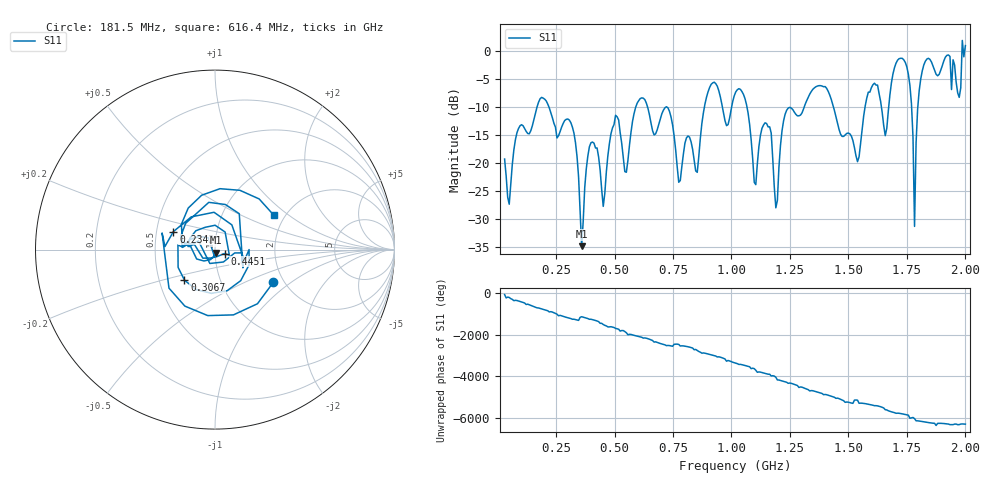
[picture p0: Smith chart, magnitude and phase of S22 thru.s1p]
# Hz S DB R 50.000000
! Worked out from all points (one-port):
!   300 points, 30 MHz to 2 GHz, reference 50 ohm
!   lowest |S11| = -34.9 dB at 359.4 MHz (marker M1), VSWR 1.04, Z = 50.7 - j1.67 ohm
!   |S11| at or under -10 dB: 219.1 MHz to 591.1 MHz (371.9 MHz wide, 91.8 % of centre); 722 MHz to 884.5 MHz (162.5 MHz wide, 20.2 % of centre); 1.066 GHz to 1.311 GHz (245.2 MHz wide, 20.6 % of centre)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
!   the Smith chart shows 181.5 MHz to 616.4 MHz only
!   S11 on the Smith chart (normalised r, x): 181.5 MHz: 1.76, -0.75; 234.2 MHz: 0.61, +0.13; 306.7 MHz: 0.67, -0.24; 445.1 MHz: 1.11, -0.05; 616.4 MHz: 1.76, +0.78
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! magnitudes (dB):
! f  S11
! 30 MHz  -19.3
! 49.77 MHz  -27.4
! 181.5 MHz  -8.6
! 234.2 MHz  -11.9
! 280.4 MHz  -13.0
! 306.7 MHz  -12.4
! 359.4 MHz  -34.9
! 392.4 MHz  -17.1
! 445.1 MHz  -24.8
! 524.1 MHz  -14.6
! 550.5 MHz  -21.7
! 616.4 MHz  -8.4
! 728.4 MHz  -10.2
! 774.5 MHz  -23.5
! 912.9 MHz  -6.0
! 1.018 GHz  -7.3
! 1.104 GHz  -23.9
! 1.163 GHz  -13.6
! 1.19 GHz  -28.0
! 1.262 GHz  -10.5
! 1.512 GHz  -15.2
! 1.756 GHz  -4.2
! 1.776 GHz  -15.4
! 1.783 GHz  -31.3
! 1.796 GHz  -10.4
! 1.822 GHz  -2.5
! 1.974 GHz  -8.3
! 2 GHz  0.9
